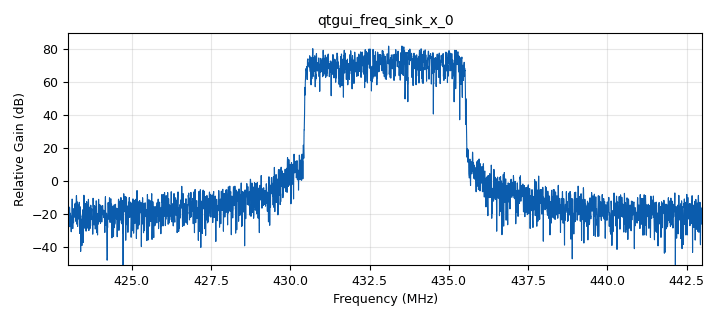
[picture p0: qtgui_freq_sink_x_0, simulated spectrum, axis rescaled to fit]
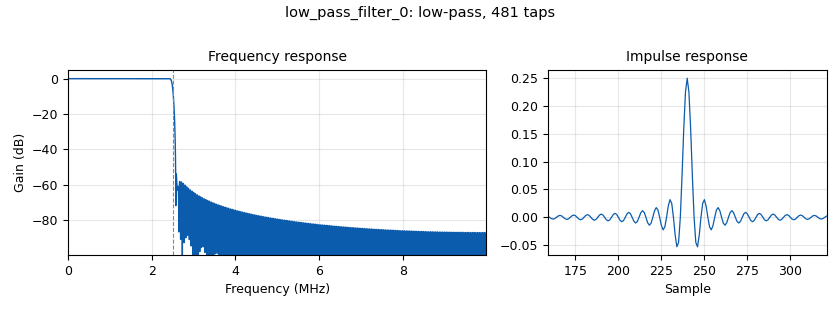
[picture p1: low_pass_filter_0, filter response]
options:
  parameters:
    generate_options: qt_gui
    id: jammer
    output_language: python
    title: Not titled yet
  states: {}

blocks:
- name: bandwidth
  id: variable
  parameters:
    value: '20000000'
  states: {}
- name: frequency
  id: variable
  parameters:
    value: '433000000'
  states: {}
- name: samp_rate
  id: variable
  parameters:
    value: '20000000'
  states: {}
- name: analog_noise_source_x_0
  id: analog_noise_source_x
  parameters:
    amp: '1000000'
    noise_type: analog.GR_UNIFORM
    seed: '0'
    type: complex
  states: {}
- name: low_pass_filter_0
  id: low_pass_filter
  parameters:
    beta: '5'
    cutoff_freq: '2500000'
    decim: '1'
    gain: '1'
    samp_rate: samp_rate
    type: fir_filter_ccf
    width: '100000'
    win: window.WIN_HAMMING
  states: {}
- name: osmosdr_sink_0
  id: osmosdr_sink
  parameters:
    bb_gain0: '20'
    bw0: bandwidth
    freq0: frequency
    gain0: '10'
    if_gain0: '47'
    sample_rate: samp_rate
    sync: sync
    type: fc32
  states: {}
- name: qtgui_freq_sink_x_0
  id: qtgui_freq_sink_x
  parameters:
    bw: bandwidth
    fc: frequency
    fftsize: '4096'
    type: complex
  states: {}

connections:
- [analog_noise_source_x_0, '0', low_pass_filter_0, '0']
- [low_pass_filter_0, '0', osmosdr_sink_0, '0']
- [low_pass_filter_0, '0', qtgui_freq_sink_x_0, '0']

metadata:
  file_format: 1
  grc_version: 3.10.7.0
